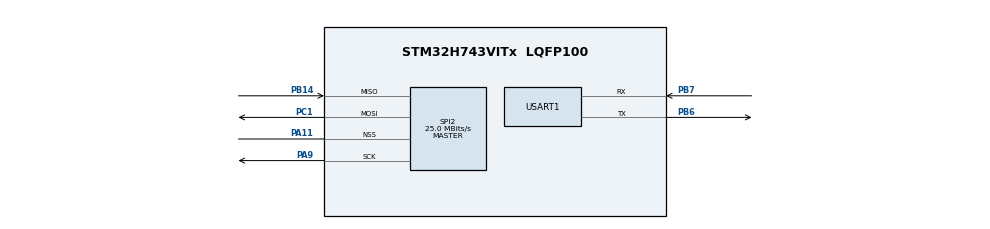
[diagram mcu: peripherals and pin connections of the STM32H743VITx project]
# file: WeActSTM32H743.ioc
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CORTEX_M7.default_mode_Activation=1
Mcu.Family=STM32H7
Mcu.Name=STM32H743VITx
Mcu.Package=LQFP100
NVIC.PriorityGroup=NVIC_PRIORITYGROUP_4
PA13\ (JTMS/SWDIO).Signal=DEBUG_JTMS-SWDIO
PA14\ (JTCK/SWCLK).Signal=DEBUG_JTCK-SWCLK
PA3.Signal=USB_OTG_HS_ULPI_D0
PA5.Signal=USB_OTG_HS_ULPI_CK
PA9.Mode=Full_Duplex_Master
PA9.Signal=SPI2_SCK
PA11.Mode=Full_Duplex_Master
PA11.Signal=SPI2_NSS
PB0.Signal=USB_OTG_HS_ULPI_D1
PB1.Signal=USB_OTG_HS_ULPI_D2
PB10.Signal=USB_OTG_HS_ULPI_D3
PB11.Signal=USB_OTG_HS_ULPI_D4
PB12.Signal=USB_OTG_HS_ULPI_D5
PB13.Signal=USB_OTG_HS_ULPI_D6
PB14.Mode=Full_Duplex_Master
PB14.Signal=SPI2_MISO
PB5.Signal=USB_OTG_HS_ULPI_D7
PB6.Mode=Asynchronous
PB6.Signal=USART1_TX
PB7.Mode=Asynchronous
PB7.Signal=USART1_RX
PC0.Signal=USB_OTG_HS_ULPI_STP
PC1.Mode=Full_Duplex_Master
PC1.Signal=SPI2_MOSI
PC14-OSC32_IN\ (OSC32_IN).Mode=LSE-External-Oscillator
PC14-OSC32_IN\ (OSC32_IN).Signal=RCC_OSC32_IN
PC15-OSC32_OUT\ (OSC32_OUT).Mode=LSE-External-Oscillator
PC15-OSC32_OUT\ (OSC32_OUT).Signal=RCC_OSC32_OUT
PC2_C.Signal=USB_OTG_HS_ULPI_DIR
PC3_C.Signal=USB_OTG_HS_ULPI_NXT
PH0-OSC_IN\ (PH0).Mode=HSE-External-Oscillator
PH0-OSC_IN\ (PH0).Signal=RCC_OSC_IN
PH1-OSC_OUT\ (PH1).Mode=HSE-External-Oscillator
PH1-OSC_OUT\ (PH1).Signal=RCC_OSC_OUT
ProjectManager.HeapSize=0x200
ProjectManager.StackSize=0x400
ProjectManager.TargetToolchain=CMake
RCC.ADCFreq_Value=200000000
RCC.APB1Freq_Value=120000000
RCC.APB2Freq_Value=120000000
RCC.APB3Freq_Value=120000000
RCC.APB4Freq_Value=120000000
RCC.CortexFreq_Value=480000000
RCC.D1PPRE=RCC_APB3_DIV2
RCC.D2PPRE1=RCC_APB1_DIV2
RCC.D2PPRE2=RCC_APB2_DIV2
RCC.D3PPRE=RCC_APB4_DIV2
RCC.DIVM1=2
RCC.DIVM2=2
RCC.DIVN1=240
RCC.DIVN2=100
RCC.DIVQ1=20
RCC.DIVQ2=4
RCC.HCLKFreq_Value=240000000
RCC.HPRE=RCC_HCLK_DIV2
RCC.PLLSourceVirtual=RCC_PLLSOURCE_HSE
RCC.PWR_Regulator_Voltage_Scale=PWR_REGULATOR_VOLTAGE_SCALE0
RCC.RTCClockSelection=RCC_RTCCLKSOURCE_LSE
RCC.SYSCLKFreq_VALUE=480000000
RCC.SYSCLKSource=RCC_SYSCLKSOURCE_PLLCLK
RCC.Spi123ClockSelection=RCC_SPI123CLKSOURCE_PLL2
RCC.Spi45ClockSelection=RCC_SPI45CLKSOURCE_PLL2
RCC.USBFreq_Value=240000000
SPI2.BaudRatePrescaler=SPI_BAUDRATEPRESCALER_8
SPI2.CalculateBaudRate=25.0 MBits/s
SPI2.DataSize=SPI_DATASIZE_32BIT
SPI2.Direction=SPI_DIRECTION_2LINES
SPI2.MasterInterDataIdleness=SPI_MASTER_INTERDATA_IDLENESS_15CYCLE
SPI2.MasterKeepIOState=SPI_MASTER_KEEP_IO_STATE_ENABLE
SPI2.MasterSSIdleness=SPI_MASTER_SS_IDLENESS_00CYCLE
SPI2.Mode=SPI_MODE_MASTER
SPI2.NSSPolarity=SPI_NSS_POLARITY_LOW
SPI2.NSSPMode=SPI_NSS_PULSE_ENABLE
SPI2.VirtualNSS=VM_NSSHARD
SPI2.VirtualType=VM_MASTER
USART1.VirtualMode-Asynchronous=VM_ASYNC
USB_OTG_HS.VirtualMode=Device_Only
USB_OTG_HS.phy_itface=USB_OTG_ULPI_PHY
VP_MEMORYMAP_VS_MEMORYMAP.Mode=CurAppReg
VP_RTC_VS_RTC_Activate.Mode=RTC_Enabled
board=custom

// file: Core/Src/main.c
/* USER CODE BEGIN Header */
/**
  ******************************************************************************
  * @file           : main.c
  * @brief          : Main program body — WeAct STM32H743, МК STM32H743VIT6.
  *
  * Контекст для агентов (железо, SPI2/Intan, сборка CMake): см. AGENTS.md в
  * корне репозитория. При потере контекста новый агент должен прочитать AGENTS.md.
  ******************************************************************************
  * @attention
  *
  * Copyright (c) 2026 STMicroelectronics.
  * All rights reserved.
  *
  * This software is licensed under terms that can be found in the LICENSE file
  * in the root directory of this software component.
  * If no LICENSE file comes with this software, it is provided AS-IS.
  *
  ******************************************************************************
  */
/* USER CODE END Header */
#include "main.h"
#include "rtc.h"
#include "iwdg.h"
#include "spi.h"
#include "usart.h"
#include "gpio.h"
#include "intan_spi.h"
#include "intan_uart_cli.h"
#include "usb_device.h"
#include "usb_stream_service.h"
#include "intan_fw_acq.h"
#include <string.h>

/* USER CODE BEGIN PD */

#ifndef BOARD_SYSCLK_480
#define BOARD_SYSCLK_480  0
#endif

/* USER CODE END PD */

void SystemClock_Config(void);
static void MPU_Config(void);

int main(void)
{

  /* MPU Configuration--------------------------------------------------------*/
  MPU_Config();

  /* MCU Configuration--------------------------------------------------------*/

  /* Reset of all peripherals, Initializes the Flash interface and the Systick. */
  HAL_Init();
  Iwdg_CaptureResetCause();

  /* USER CODE BEGIN Init */
  UART_EarlyMinInit(64000000U);
  /* USER CODE END Init */

  /* Configure the system clock */
  SystemClock_Config();

  /* USER CODE BEGIN SysInit */
  UART_EarlyMinInit(60000000U);
  /* USER CODE END SysInit */

  /* Initialize all configured peripherals */
  MX_GPIO_Init();
  /* USART до RTC: RTC/LSE опциональны (BOARD_HAS_LSE), не блокируют UART */
  MX_USART1_UART_Init();
  MX_RTC_Init();
#if (INTAN_HW_PRESENT == 1)
  MX_SPI2_Init();
#endif
  /* USER CODE BEGIN 2 */
#if (INTAN_HW_PRESENT == 1)
  Intan_SPI_Init(&hspi2);
  if (Intan_ChipBringup() != HAL_OK)
  {
    /* Intan недоступен — без UART-диагностики. */
  }
  {
    uint16_t ign = 0U;
    (void)Intan_ReadReg(255U, &ign);
    (void)Intan_ReadReg(255U, &ign);
  }
#endif
  Intan_UART_CLI_Init();
  USB_DEVICE_Init();
  UsbStreamService_Init();
  MX_IWDG_Init();

  /* USER CODE END 2 */

  /* Infinite loop */
  while (1)
  {

    /* USER CODE BEGIN 3 */
    UsbVendorBulk_ProcessOutCommands();
#if (INTAN_HW_PRESENT == 1)
    if (IntanFw_StreamUsesHotLoop() != 0U && IntanFw_StreamIsActive() != 0U)
    {
      while (IntanFw_StreamIsActive() != 0U)
      {
        /* Accept STOP while RR8 is DWT-paced; teardown remains deferred to an EOT boundary. */
        UsbVendorBulk_ProcessOutCommands();
        UsbStreamService_TxPump();
        IntanFw_Process();
        UsbStreamService_ProcessStopRequest();
        UsbStreamService_TxPump();
        Iwdg_RefreshIfHealthy((IntanFw_HasFatalError() == 0U &&
                               UsbStreamService_IsDisconnectTeardownInProgress() == 0U) ? 1U : 0U);
      }
    }
    else
    {
      UsbStreamService_TxPump();
      UsbStreamService_Process();
      if (IntanFw_StreamIsActive() != 0U)
      {
        IntanFw_Process();
      }
      UsbStreamService_TxPump();
    }
#else
    UsbStreamService_TxPump();
    UsbStreamService_Process();
    UsbStreamService_TxPump();
#endif
    Intan_UART_CLI_Process();
    Iwdg_RefreshIfHealthy((IntanFw_HasFatalError() == 0U &&
                           UsbStreamService_IsDisconnectTeardownInProgress() == 0U) ? 1U : 0U);
  }
  /* USER CODE END 3 */
}

void SystemClock_Config(void)
{
  RCC_OscInitTypeDef RCC_OscInitStruct = {0};
  RCC_ClkInitTypeDef RCC_ClkInitStruct = {0};

#if (BOARD_SYSCLK_480 == 1)
  /*
   * 480 MHz SYSCLK (H743 VOS0 = VSCALE1 + SYSCFG ODEN).
   * HSE 8 MHz / 4 * 480 / 2 = 480 MHz. SPI2 kernel (PLL2) без изменений.
   */
  HAL_PWREx_ConfigSupply(PWR_LDO_SUPPLY);

  __HAL_PWR_VOLTAGESCALING_CONFIG(PWR_REGULATOR_VOLTAGE_SCALE1);
  while (!__HAL_PWR_GET_FLAG(PWR_FLAG_VOSRDY))
  {
  }

  __HAL_RCC_SYSCFG_CLK_ENABLE();
  __HAL_PWR_VOLTAGESCALING_CONFIG(PWR_REGULATOR_VOLTAGE_SCALE0);
  while (!__HAL_PWR_GET_FLAG(PWR_FLAG_VOSRDY))
  {
  }

  __HAL_RCC_CSI_ENABLE();
  HAL_EnableCompensationCell();

  RCC_OscInitStruct.OscillatorType = RCC_OSCILLATORTYPE_HSE;
  RCC_OscInitStruct.HSEState = RCC_HSE_ON;
  RCC_OscInitStruct.PLL.PLLState = RCC_PLL_ON;
  RCC_OscInitStruct.PLL.PLLSource = RCC_PLLSOURCE_HSE;
  RCC_OscInitStruct.PLL.PLLM = 4;
  RCC_OscInitStruct.PLL.PLLN = 480;
  RCC_OscInitStruct.PLL.PLLP = 2;
  RCC_OscInitStruct.PLL.PLLQ = 4;
  RCC_OscInitStruct.PLL.PLLR = 2;
  RCC_OscInitStruct.PLL.PLLRGE = RCC_PLL1VCIRANGE_2;
  RCC_OscInitStruct.PLL.PLLVCOSEL = RCC_PLL1VCOWIDE;
  RCC_OscInitStruct.PLL.PLLFRACN = 0;
  if (HAL_RCC_OscConfig(&RCC_OscInitStruct) != HAL_OK)
  {
    Error_Handler();
  }

  RCC_ClkInitStruct.ClockType = RCC_CLOCKTYPE_HCLK | RCC_CLOCKTYPE_SYSCLK
                              | RCC_CLOCKTYPE_PCLK1 | RCC_CLOCKTYPE_PCLK2
                              | RCC_CLOCKTYPE_D3PCLK1 | RCC_CLOCKTYPE_D1PCLK1;
  RCC_ClkInitStruct.SYSCLKSource = RCC_SYSCLKSOURCE_PLLCLK;
  RCC_ClkInitStruct.SYSCLKDivider = RCC_SYSCLK_DIV1;
  RCC_ClkInitStruct.AHBCLKDivider = RCC_HCLK_DIV2;
  RCC_ClkInitStruct.APB3CLKDivider = RCC_APB3_DIV2;
  RCC_ClkInitStruct.APB1CLKDivider = RCC_APB1_DIV2;
  RCC_ClkInitStruct.APB2CLKDivider = RCC_APB2_DIV2;
  RCC_ClkInitStruct.APB4CLKDivider = RCC_APB4_DIV2;

  if (HAL_RCC_ClockConfig(&RCC_ClkInitStruct, FLASH_LATENCY_4) != HAL_OK)
  {
    Error_Handler();
  }
#else
  /*
   * Как WorkingVER (CDC 5740): VSCALE2, HSE-only, 240 MHz SYSCLK.
   * LSE включается позже в MX_RTC_Init — не блокирует UART при старте.
   */
  HAL_PWREx_ConfigSupply(PWR_LDO_SUPPLY);

  __HAL_PWR_VOLTAGESCALING_CONFIG(PWR_REGULATOR_VOLTAGE_SCALE2);

  while (!__HAL_PWR_GET_FLAG(PWR_FLAG_VOSRDY))
  {
  }

  RCC_OscInitStruct.OscillatorType = RCC_OSCILLATORTYPE_HSE;
  RCC_OscInitStruct.HSEState = RCC_HSE_ON;
  RCC_OscInitStruct.PLL.PLLState = RCC_PLL_ON;
  RCC_OscInitStruct.PLL.PLLSource = RCC_PLLSOURCE_HSE;
  RCC_OscInitStruct.PLL.PLLM = 4;
  RCC_OscInitStruct.PLL.PLLN = 240;
  RCC_OscInitStruct.PLL.PLLP = 2;
  RCC_OscInitStruct.PLL.PLLQ = 4;
  RCC_OscInitStruct.PLL.PLLR = 2;
  RCC_OscInitStruct.PLL.PLLRGE = RCC_PLL1VCIRANGE_3;
  RCC_OscInitStruct.PLL.PLLVCOSEL = RCC_PLL1VCOWIDE;
  RCC_OscInitStruct.PLL.PLLFRACN = 0;
  if (HAL_RCC_OscConfig(&RCC_OscInitStruct) != HAL_OK)
  {
    Error_Handler();
  }

  RCC_ClkInitStruct.ClockType = RCC_CLOCKTYPE_HCLK | RCC_CLOCKTYPE_SYSCLK
                              | RCC_CLOCKTYPE_PCLK1 | RCC_CLOCKTYPE_PCLK2
                              | RCC_CLOCKTYPE_D3PCLK1 | RCC_CLOCKTYPE_D1PCLK1;
  RCC_ClkInitStruct.SYSCLKSource = RCC_SYSCLKSOURCE_PLLCLK;
  RCC_ClkInitStruct.SYSCLKDivider = RCC_SYSCLK_DIV1;
  RCC_ClkInitStruct.AHBCLKDivider = RCC_HCLK_DIV2;
  RCC_ClkInitStruct.APB3CLKDivider = RCC_APB3_DIV2;
  RCC_ClkInitStruct.APB1CLKDivider = RCC_APB1_DIV2;
  RCC_ClkInitStruct.APB2CLKDivider = RCC_APB2_DIV2;
  RCC_ClkInitStruct.APB4CLKDivider = RCC_APB4_DIV2;

  if (HAL_RCC_ClockConfig(&RCC_ClkInitStruct, FLASH_LATENCY_2) != HAL_OK)
  {
    Error_Handler();
  }
#endif

  /* PLL2P = 200 MHz для SPI2 Intan (HSE 8 MHz / 2 * 100 / 2). */
  {
    RCC_PeriphCLKInitTypeDef pll2cfg = {0};
    pll2cfg.PeriphClockSelection = RCC_PERIPHCLK_PLL2_DIVP | RCC_PERIPHCLK_PLL2_DIVQ;
    pll2cfg.PLL2.PLL2M = 2;
    pll2cfg.PLL2.PLL2N = 100;
    pll2cfg.PLL2.PLL2P = 2;
    pll2cfg.PLL2.PLL2Q = 4;
    pll2cfg.PLL2.PLL2R = 2;
    pll2cfg.PLL2.PLL2RGE = RCC_PLL2VCIRANGE_2;
    pll2cfg.PLL2.PLL2VCOSEL = RCC_PLL2VCOMEDIUM;
    pll2cfg.PLL2.PLL2FRACN = 0;
    if (HAL_RCCEx_PeriphCLKConfig(&pll2cfg) != HAL_OK)
    {
      Error_Handler();
    }
  }

  SystemCoreClockUpdate();
}

 /* MPU Configuration */

void MPU_Config(void)
{
  MPU_Region_InitTypeDef MPU_InitStruct = {0};

  /* Disables the MPU */
  HAL_MPU_Disable();

  /** Initializes and configures the Region and the memory to be protected
  */
  MPU_InitStruct.Enable = MPU_REGION_ENABLE;
  MPU_InitStruct.Number = MPU_REGION_NUMBER0;
  MPU_InitStruct.BaseAddress = 0x0;
  MPU_InitStruct.Size = MPU_REGION_SIZE_4GB;
  MPU_InitStruct.SubRegionDisable = 0x87;
  MPU_InitStruct.TypeExtField = MPU_TEX_LEVEL0;
  MPU_InitStruct.AccessPermission = MPU_REGION_NO_ACCESS;
  MPU_InitStruct.DisableExec = MPU_INSTRUCTION_ACCESS_DISABLE;
  MPU_InitStruct.IsShareable = MPU_ACCESS_SHAREABLE;
  MPU_InitStruct.IsCacheable = MPU_ACCESS_NOT_CACHEABLE;
  MPU_InitStruct.IsBufferable = MPU_ACCESS_NOT_BUFFERABLE;

  HAL_MPU_ConfigRegion(&MPU_InitStruct);

  /** D2 SRAM (0x30000000): .dma_buffer — SPI DMA, без D-Cache (STM32H7). */
  MPU_InitStruct.Number = MPU_REGION_NUMBER1;
  MPU_InitStruct.BaseAddress = 0x30000000U;
  MPU_InitStruct.Size = MPU_REGION_SIZE_512KB;
  MPU_InitStruct.SubRegionDisable = 0x00U;
  MPU_InitStruct.TypeExtField = MPU_TEX_LEVEL0;
  MPU_InitStruct.AccessPermission = MPU_REGION_FULL_ACCESS;
  MPU_InitStruct.DisableExec = MPU_INSTRUCTION_ACCESS_DISABLE;
  MPU_InitStruct.IsShareable = MPU_ACCESS_SHAREABLE;
  MPU_InitStruct.IsCacheable = MPU_ACCESS_NOT_CACHEABLE;
  MPU_InitStruct.IsBufferable = MPU_ACCESS_NOT_BUFFERABLE;
  HAL_MPU_ConfigRegion(&MPU_InitStruct);

  /* Enables the MPU */
  HAL_MPU_Enable(MPU_PRIVILEGED_DEFAULT);

}

void Error_Handler(void)
{
  /* USER CODE BEGIN Error_Handler_Debug */
  UART_EarlyMinInit(60000000U);
  UART_SosBlinkPB6();
  /* USER CODE END Error_Handler_Debug */
}
